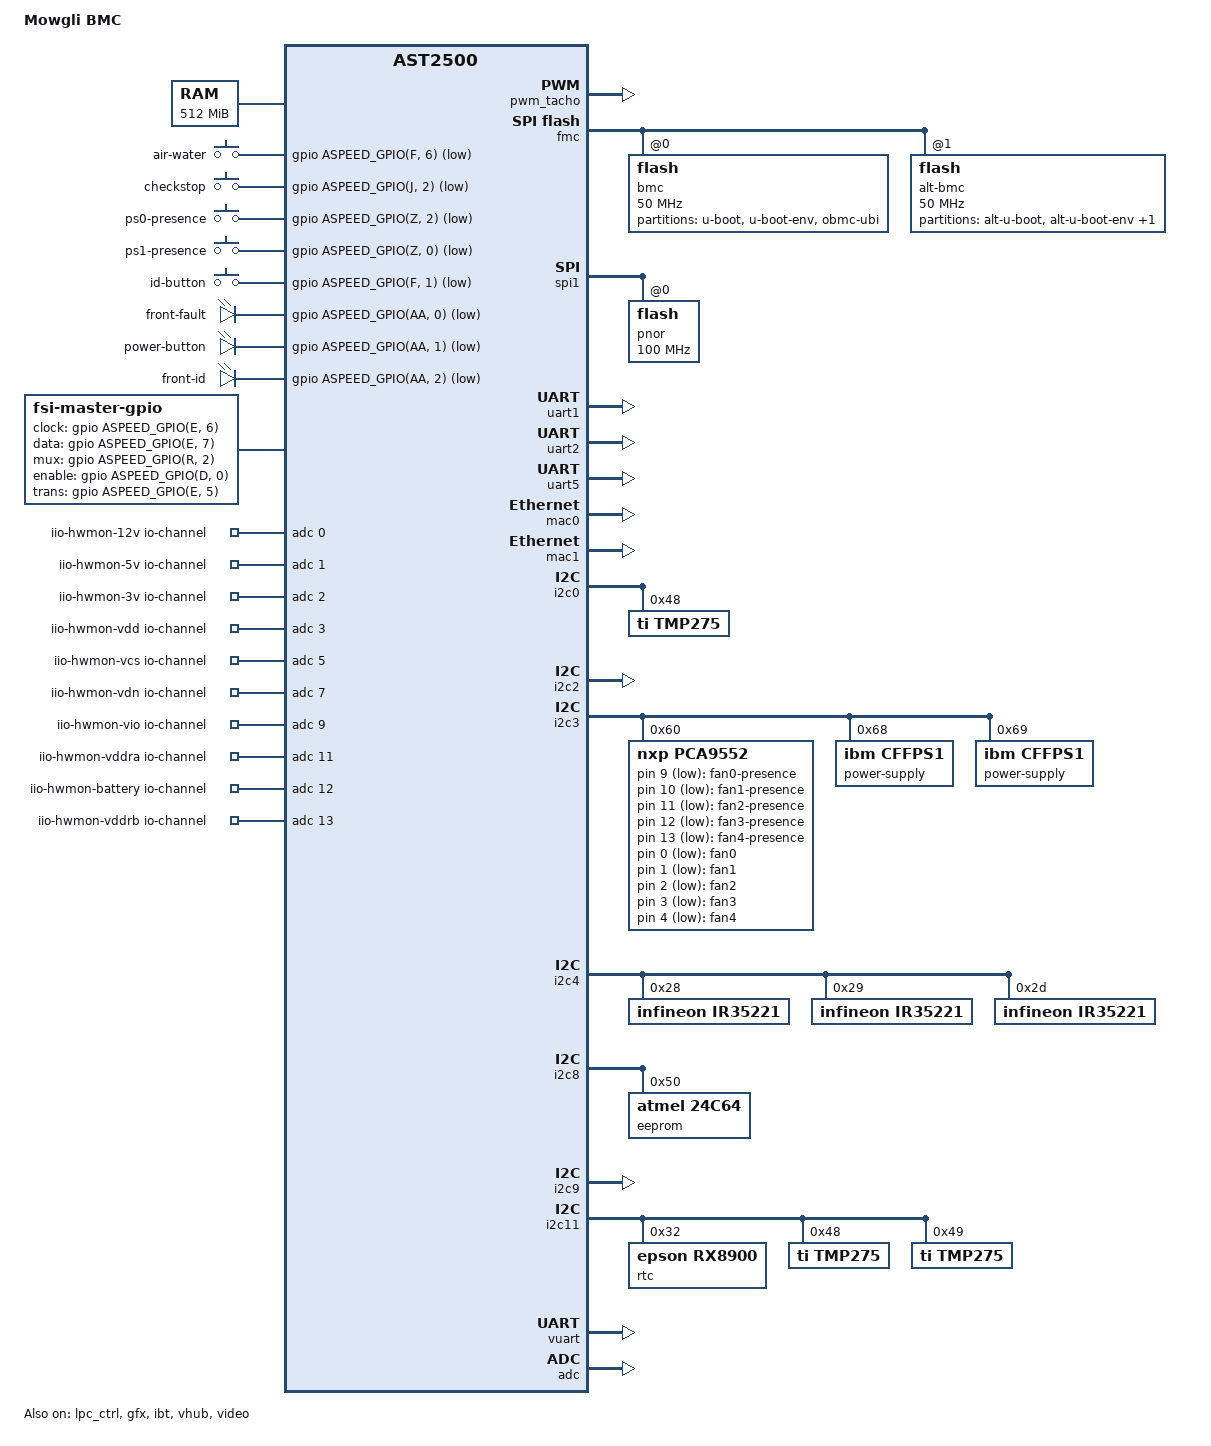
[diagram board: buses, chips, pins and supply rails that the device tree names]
// SPDX-License-Identifier: GPL-2.0+
/dts-v1/;
#include "aspeed-g5.dtsi"
#include <dt-bindings/gpio/aspeed-gpio.h>
#include <dt-bindings/leds/leds-pca955x.h>

/ {
	model = "Mowgli BMC";
	compatible = "ibm,mowgli-bmc", "aspeed,ast2500";


	chosen {
		stdout-path = &uart5;
		bootargs = "console=ttyS4,115200 earlycon";
	};

	memory@80000000 {
		reg = <0x80000000 0x20000000>;
	};

	reserved-memory {
		#address-cells = <1>;
		#size-cells = <1>;
		ranges;

		flash_memory: region@98000000 {
			no-map;
			reg = <0x98000000 0x04000000>; /* 64M */
		};

		gfx_memory: framebuffer {
			size = <0x01000000>;
			alignment = <0x01000000>;
			compatible = "shared-dma-pool";
			reusable;
		};

		video_engine_memory: jpegbuffer {
			size = <0x02000000>;
			alignment = <0x01000000>;
			compatible = "shared-dma-pool";
			reusable;
		};
	};

	gpio-keys {
		compatible = "gpio-keys";

		event-air-water {
			label = "air-water";
			gpios = <&gpio ASPEED_GPIO(F, 6) GPIO_ACTIVE_LOW>;
			linux,code = <ASPEED_GPIO(F, 6)>;
		};

		event-checkstop {
			label = "checkstop";
			gpios = <&gpio ASPEED_GPIO(J, 2) GPIO_ACTIVE_LOW>;
			linux,code = <ASPEED_GPIO(J, 2)>;
		};

		event-ps0-presence {
			label = "ps0-presence";
			gpios = <&gpio ASPEED_GPIO(Z, 2) GPIO_ACTIVE_LOW>;
			linux,code = <ASPEED_GPIO(Z, 2)>;
		};

		event-ps1-presence {
			label = "ps1-presence";
			gpios = <&gpio ASPEED_GPIO(Z, 0) GPIO_ACTIVE_LOW>;
			linux,code = <ASPEED_GPIO(Z, 0)>;
		};

		button-id {
			label = "id-button";
			gpios = <&gpio ASPEED_GPIO(F, 1) GPIO_ACTIVE_LOW>;
			linux,code = <ASPEED_GPIO(F, 1)>;
		};
	};

	gpio-keys-polled {
		compatible = "gpio-keys-polled";
		poll-interval = <1000>;

		event-fan0-presence {
			label = "fan0-presence";
			gpios = <&pca9552 9 GPIO_ACTIVE_LOW>;
			linux,code = <9>;
		};

		event-fan1-presence {
			label = "fan1-presence";
			gpios = <&pca9552 10 GPIO_ACTIVE_LOW>;
			linux,code = <10>;
		};

		event-fan2-presence {
			label = "fan2-presence";
			gpios = <&pca9552 11 GPIO_ACTIVE_LOW>;
			linux,code = <11>;
		};

		event-fan3-presence {
			label = "fan3-presence";
			gpios = <&pca9552 12 GPIO_ACTIVE_LOW>;
			linux,code = <12>;
		};

		event-fan4-presence {
			label = "fan4-presence";
			gpios = <&pca9552 13 GPIO_ACTIVE_LOW>;
			linux,code = <13>;
		};
	};

	leds {
		compatible = "gpio-leds";

		front-fault {
			retain-state-shutdown;
			default-state = "keep";
			gpios = <&gpio ASPEED_GPIO(AA, 0) GPIO_ACTIVE_LOW>;
		};

		power-button {
			retain-state-shutdown;
			default-state = "keep";
			gpios = <&gpio ASPEED_GPIO(AA, 1) GPIO_ACTIVE_LOW>;
		};

		front-id {
			retain-state-shutdown;
			default-state = "keep";
			gpios = <&gpio ASPEED_GPIO(AA, 2) GPIO_ACTIVE_LOW>;
		};

		fan0 {
			retain-state-shutdown;
			default-state = "keep";
			gpios = <&pca9552 0 GPIO_ACTIVE_LOW>;
		};

		fan1 {
			retain-state-shutdown;
			default-state = "keep";
			gpios = <&pca9552 1 GPIO_ACTIVE_LOW>;
		};

		fan2 {
			retain-state-shutdown;
			default-state = "keep";
			gpios = <&pca9552 2 GPIO_ACTIVE_LOW>;
		};

		fan3 {
			retain-state-shutdown;
			default-state = "keep";
			gpios = <&pca9552 3 GPIO_ACTIVE_LOW>;
		};

		fan4 {
			retain-state-shutdown;
			default-state = "keep";
			gpios = <&pca9552 4 GPIO_ACTIVE_LOW>;
		};
	};

	fsi: gpio-fsi {
		compatible = "fsi-master-gpio";
		#address-cells = <2>;
		#size-cells = <0>;
		no-gpio-delays;

		clock-gpios = <&gpio ASPEED_GPIO(E, 6) GPIO_ACTIVE_HIGH>;
		data-gpios = <&gpio ASPEED_GPIO(E, 7) GPIO_ACTIVE_HIGH>;
		mux-gpios = <&gpio ASPEED_GPIO(R, 2) GPIO_ACTIVE_HIGH>;
		enable-gpios = <&gpio ASPEED_GPIO(D, 0) GPIO_ACTIVE_HIGH>;
		trans-gpios = <&gpio ASPEED_GPIO(E, 5) GPIO_ACTIVE_HIGH>;
	};

	iio-hwmon-12v {
		compatible = "iio-hwmon";
		io-channels = <&adc 0>;
	};

	iio-hwmon-5v {
		compatible = "iio-hwmon";
		io-channels = <&adc 1>;
	};

	iio-hwmon-3v {
		compatible = "iio-hwmon";
		io-channels = <&adc 2>;
	};

	iio-hwmon-vdd {
		compatible = "iio-hwmon";
		io-channels = <&adc 3>;
	};

	iio-hwmon-vcs {
		compatible = "iio-hwmon";
		io-channels = <&adc 5>;
	};

	iio-hwmon-vdn {
		compatible = "iio-hwmon";
		io-channels = <&adc 7>;
	};

	iio-hwmon-vio {
		compatible = "iio-hwmon";
		io-channels = <&adc 9>;
	};

	iio-hwmon-vddra {
		compatible = "iio-hwmon";
		io-channels = <&adc 11>;
	};

	iio-hwmon-battery {
		compatible = "iio-hwmon";
		io-channels = <&adc 12>;
	};

	iio-hwmon-vddrb {
		compatible = "iio-hwmon";
		io-channels = <&adc 13>;
	};
};

&pwm_tacho {
	status = "okay";
	pinctrl-names = "default";
	pinctrl-0 = <&pinctrl_pwm0_default &pinctrl_pwm1_default
		&pinctrl_pwm2_default &pinctrl_pwm3_default
		&pinctrl_pwm4_default>;

	fan@0 {
		reg = <0x00>;
		aspeed,fan-tach-ch = /bits/ 8 <0x00>;
	};

	fan@1 {
		reg = <0x01>;
		aspeed,fan-tach-ch = /bits/ 8 <0x01>;
	};

	fan@2 {
		reg = <0x02>;
		aspeed,fan-tach-ch = /bits/ 8 <0x02>;
	};

	fan@3 {
		reg = <0x03>;
		aspeed,fan-tach-ch = /bits/ 8 <0x03>;
	};

	fan@4 {
		reg = <0x04>;
		aspeed,fan-tach-ch = /bits/ 8 <0x04>;
	};

	fan@5 {
		reg = <0x00>;
		aspeed,fan-tach-ch = /bits/ 8 <0x05>;
	};

	fan@6 {
		reg = <0x01>;
		aspeed,fan-tach-ch = /bits/ 8 <0x06>;
	};

	fan@7 {
		reg = <0x02>;
		aspeed,fan-tach-ch = /bits/ 8 <0x07>;
	};

	fan@8 {
		reg = <0x03>;
		aspeed,fan-tach-ch = /bits/ 8 <0x08>;
	};

	fan@9 {
		reg = <0x04>;
		aspeed,fan-tach-ch = /bits/ 8 <0x09>;
	};
};

&fmc {
	status = "okay";
	flash@0 {
		status = "okay";
		label = "bmc";
		m25p,fast-read;
		spi-max-frequency = <50000000>;
		partitions {
			#address-cells = < 1 >;
			#size-cells = < 1 >;
			compatible = "fixed-partitions";
			u-boot@0 {
				reg = < 0 0x60000 >;
				label = "u-boot";
			};
			u-boot-env@60000 {
				reg = < 0x60000 0x20000 >;
				label = "u-boot-env";
			};
			obmc-ubi@80000 {
				reg = < 0x80000 0x1F80000 >;
				label = "obmc-ubi";
			};
		};
	};
	flash@1 {
		status = "okay";
		label = "alt-bmc";
		m25p,fast-read;
		spi-max-frequency = <50000000>;
		partitions {
			#address-cells = < 1 >;
			#size-cells = < 1 >;
			compatible = "fixed-partitions";
			u-boot@0 {
				reg = < 0 0x60000 >;
				label = "alt-u-boot";
			};
			u-boot-env@60000 {
				reg = < 0x60000 0x20000 >;
				label = "alt-u-boot-env";
			};
			obmc-ubi@80000 {
				reg = < 0x80000 0x1F80000 >;
				label = "alt-obmc-ubi";
			};
		};
	};
};

&spi1 {
	status = "okay";
	pinctrl-names = "default";
	pinctrl-0 = <&pinctrl_spi1_default>;

	flash@0 {
		status = "okay";
		label = "pnor";
		m25p,fast-read;
		spi-max-frequency = <100000000>;
	};
};

&lpc_ctrl {
	status = "okay";
	memory-region = <&flash_memory>;
	flash = <&spi1>;
};

&uart1 {
	/* Rear RS-232 connector */
	status = "okay";

	pinctrl-names = "default";
	pinctrl-0 = <&pinctrl_txd1_default
			&pinctrl_rxd1_default
			&pinctrl_nrts1_default
			&pinctrl_ndtr1_default
			&pinctrl_ndsr1_default
			&pinctrl_ncts1_default
			&pinctrl_ndcd1_default
			&pinctrl_nri1_default>;
};

&uart2 {
	/* APSS */
	status = "okay";

	pinctrl-names = "default";
	pinctrl-0 = <&pinctrl_txd2_default &pinctrl_rxd2_default>;
};

&uart5 {
	status = "okay";
};

&mac0 {
	status = "okay";

	pinctrl-names = "default";
	pinctrl-0 = <&pinctrl_rmii1_default>;
	clocks = <&syscon ASPEED_CLK_GATE_MAC1CLK>,
		 <&syscon ASPEED_CLK_MAC1RCLK>;
	clock-names = "MACCLK", "RCLK";
	use-ncsi;
};

&mac1 {
	status = "okay";

	pinctrl-names = "default";
	pinctrl-0 = <&pinctrl_rgmii2_default &pinctrl_mdio2_default>;
};

&i2c0 {
	status = "okay";

	tmp275@48 {
		compatible = "ti,tmp275";
		reg = <0x48>;
	};
};

&i2c1 {
	status = "disabled";
};

&i2c2 {
	status = "okay";

	/* CPU MFG CONN */

};

&i2c3 {
	status = "okay";

	/* APSS */
	/* CPLD */

	/* PCA9516 (repeater) ->
	 *    CLK Buffer 9FGS9092
	 *    Power Supply 0
	 *    Power Supply 1
	 *    PCA 9552 LED
	 */

	pca9552: pca9552@60 {
		compatible = "nxp,pca9552";
		reg = <0x60>;
		#address-cells = <1>;
		#size-cells = <0>;
		gpio-controller;
		#gpio-cells = <2>;

		gpio@0 {
			reg = <0>;
			type = <PCA955X_TYPE_GPIO>;
		};
		gpio@1 {
			reg = <1>;
			type = <PCA955X_TYPE_GPIO>;
		};
		gpio@2 {
			reg = <2>;
			type = <PCA955X_TYPE_GPIO>;
		};
		gpio@3 {
			reg = <3>;
			type = <PCA955X_TYPE_GPIO>;
		};
		gpio@4 {
			reg = <4>;
			type = <PCA955X_TYPE_GPIO>;
		};
		gpio@5 {
			reg = <5>;
			type = <PCA955X_TYPE_GPIO>;
		};
		gpio@6 {
			reg = <6>;
			type = <PCA955X_TYPE_GPIO>;
		};
		gpio@7 {
			reg = <7>;
			type = <PCA955X_TYPE_GPIO>;
		};
		gpio@8 {
			reg = <8>;
			type = <PCA955X_TYPE_GPIO>;
		};
		gpio@9 {
			reg = <9>;
			type = <PCA955X_TYPE_GPIO>;
		};
		gpio@10 {
			reg = <10>;
			type = <PCA955X_TYPE_GPIO>;
		};
		gpio@11 {
			reg = <11>;
			type = <PCA955X_TYPE_GPIO>;
		};
		gpio@12 {
			reg = <12>;
			type = <PCA955X_TYPE_GPIO>;
		};
		gpio@13 {
			reg = <13>;
			type = <PCA955X_TYPE_GPIO>;
		};
		gpio@14 {
			reg = <14>;
			type = <PCA955X_TYPE_GPIO>;
		};
		gpio@15 {
			reg = <15>;
			type = <PCA955X_TYPE_GPIO>;
		};
	};

	power-supply@68 {
		compatible = "ibm,cffps1";
		reg = <0x68>;
	};

	power-supply@69 {
		compatible = "ibm,cffps1";
		reg = <0x69>;
	};
};

&i2c4 {
	status = "okay";

	/* CP0 VDD & VCS : IR35221 */
	/* CP0 VDN & VIO : IR35221 */
	/* CP0 VDDR : IR35221 */

	ir35221@28 {
		compatible = "infineon,ir35221";
		reg = <0x28>;
	};

	ir35221@29 {
		compatible = "infineon,ir35221";
		reg = <0x29>;
	};

	ir35221@2d {
		compatible = "infineon,ir35221";
		reg = <0x2d>;
	};

};

&i2c5 {
	status = "disabled";
};

&i2c6 {
	status = "disabled";
};

&i2c7 {
	status = "disabled";
};

&i2c8 {
	status = "okay";

	eeprom@50 {
		compatible = "atmel,24c64";
		reg = <0x50>;
	};
};

&i2c9 {
	status = "okay";

	/* PCIe G3 x16 slot */
};

&i2c10 {
	status = "disabled";
};

&i2c11 {
	status = "okay";

	/* CPLD */
	/* TPM */
	/* RTC RX8900CE */
	/* TMP275A */
	/* TMP275A */

	rtc@32 {
		compatible = "epson,rx8900";
		reg = <0x32>;
	};

	tmp275@48 {
		compatible = "ti,tmp275";
		reg = <0x48>;
	};

	tmp275@49 {
		compatible = "ti,tmp275";
		reg = <0x49>;
	};

};

&i2c12 {
	status = "disabled";
};

&i2c13 {
	status = "disabled";
};

&vuart {
	status = "okay";
};

&gfx {
	status = "okay";
	memory-region = <&gfx_memory>;
};

&adc {
	status = "okay";
	pinctrl-names = "default";
	pinctrl-0 = <&pinctrl_adc0_default
			&pinctrl_adc1_default
			&pinctrl_adc2_default
			&pinctrl_adc3_default
			&pinctrl_adc4_default
			&pinctrl_adc5_default
			&pinctrl_adc6_default
			&pinctrl_adc7_default
			&pinctrl_adc8_default
			&pinctrl_adc9_default
			&pinctrl_adc10_default
			&pinctrl_adc11_default
			&pinctrl_adc12_default
			&pinctrl_adc13_default
			&pinctrl_adc14_default
			&pinctrl_adc15_default>;
};

&wdt1 {
	aspeed,reset-type = "none";
	aspeed,external-signal;
	aspeed,ext-push-pull;
	aspeed,ext-active-high;

	pinctrl-names = "default";
	pinctrl-0 = <&pinctrl_wdtrst1_default>;
};

&wdt2 {
	aspeed,alt-boot;
};

&ibt {
	status = "okay";
};

&vhub {
	status = "okay";
};

&video {
	status = "okay";
	memory-region = <&video_engine_memory>;
};

#include "ibm-power9-dual.dtsi"
